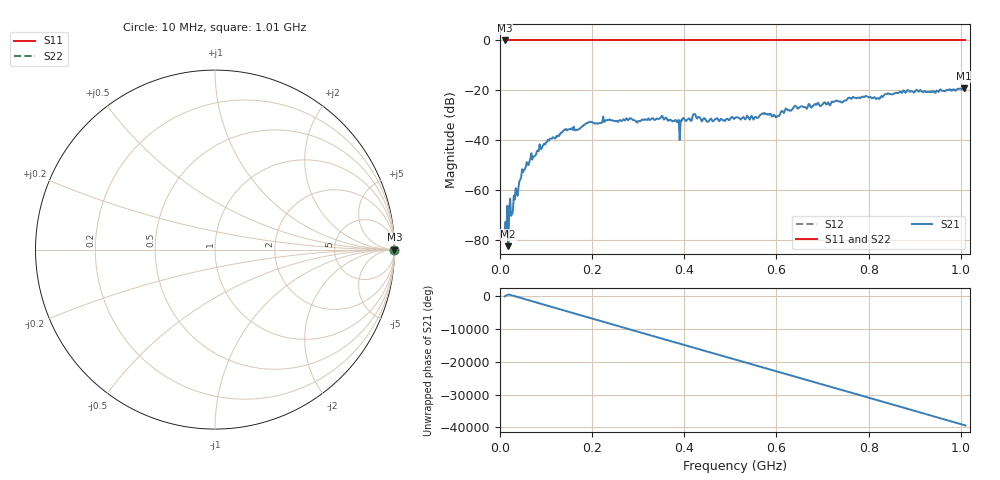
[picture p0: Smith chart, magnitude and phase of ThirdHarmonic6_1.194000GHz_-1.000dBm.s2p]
! 8/16/2025 12:18:29 PM
! C:\ANRITSUVNA\TEMP\TEMP.S2P
! CHANNEL.1
! TR.MEASUREMENT
! RAW.DATA
! RF.CORRECTION.OFF
! AVERAGING.OFF
! IF.BANDWIDTH: 5KHZ
! SWEEPTYPE:  FREQ.SWEEP(Linear)
! Reference Plane Port Info
! PORT:  PORT1  PORT2
! DISTANCE:  0  m  0  m
! TIME:  0  s  0  s
! PHASE.OFFSET:  0  deg.  0  deg.
! LOSS:  0  dB  0  dB
! REF.LOSS:  0  dB  0  dB
! REF.FREQ:  0  Hz  0  Hz
! Power Info
! POWER:  -20  dBm  -20  dBm
! EFF.POWER:  -20  dBm  -20  dBm
! SOURCE.ATTEN:  0  dB  0  dB
! TEST.ATTEN:  0  dB  0  dB
# GHZ S RI R 50.0
! FREQ.GHZ  S11RE  S11IM  S21RE  S21IM  S12RE  S12IM  S22RE  S22IM
!; PortSelection: Port_12
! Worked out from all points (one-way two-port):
!   501 points, 10 MHz to 1.01 GHz, reference 50 ohm
!   highest |S21| = -19.09 dB at 1.006 GHz (marker M1); lowest = -82.4 dB at 18 MHz (marker M2)
!   lowest |S11| = 0.0 dB at 10 MHz (marker M3)
!   |S11| at or under -10 dB: nowhere
!   |S22| runs from 0.0 to 0.0 dB; largest |S21 - S12| = 1.1
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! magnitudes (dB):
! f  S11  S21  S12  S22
! 10 MHz  0.0  -76.6  0.0  0.0
! 18 MHz  0.0  -82.4  0.0  0.0
! 28 MHz  0.0  -68.3  0.0  0.0
! 46 MHz  0.0  -54.6  0.0  0.0
! 68 MHz  0.0  -45.1  0.0  0.0
! 104 MHz  0.0  -39.8  0.0  0.0
! 140 MHz  0.0  -35.7  0.0  0.0
! 178 MHz  0.0  -34.5  0.0  0.0
! 228 MHz  0.0  -32.3  0.0  0.0
! 344 MHz  0.0  -31.5  0.0  0.0
! 384 MHz  0.0  -32.8  0.0  0.0
! 388 MHz  0.0  -31.8  0.0  0.0
! 422 MHz  0.0  -29.5  0.0  0.0
! 450 MHz  0.0  -32.5  0.0  0.0
! 510 MHz  0.0  -31.0  0.0  0.0
! 572 MHz  0.0  -29.4  0.0  0.0
! 602 MHz  0.0  -30.3  0.0  0.0
! 640 MHz  0.0  -26.1  0.0  0.0
! 678 MHz  0.0  -26.3  0.0  0.0
! 844 MHz  0.0  -21.4  0.0  0.0
! 1.006 GHz  0.0  -19.1  0.0  0.0
! 1.01 GHz  0.0  -20.1  0.0  0.0
